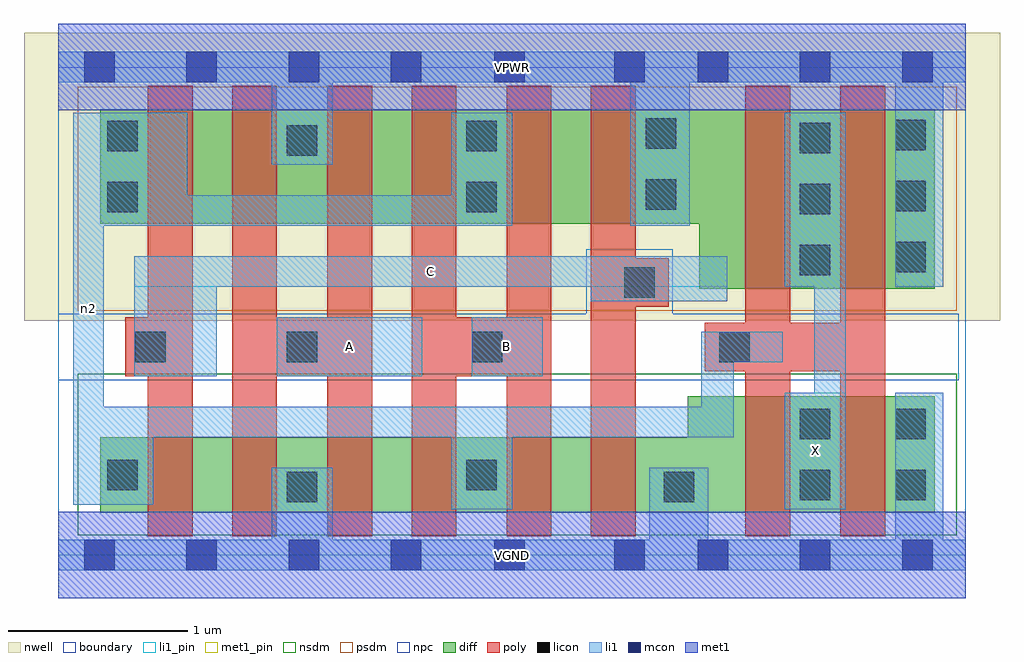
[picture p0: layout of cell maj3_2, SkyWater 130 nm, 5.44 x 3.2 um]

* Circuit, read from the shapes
.subckt maj3_2 A B C VGND VPWR X n2
XM1 n1 C n2 VSUBS sky130_fd_pr__nfet_01v8 w=0.42 l=0.25
XM2 VGND A n1 VSUBS sky130_fd_pr__nfet_01v8 w=0.42 l=0.25
XM3 n3 A VGND VSUBS sky130_fd_pr__nfet_01v8 w=0.42 l=0.25
XM4 n2 B n3 VSUBS sky130_fd_pr__nfet_01v8 w=0.42 l=0.25
XM5 n4 B n2 VSUBS sky130_fd_pr__nfet_01v8 w=0.42 l=0.25
XM6 VGND C n4 VSUBS sky130_fd_pr__nfet_01v8 w=0.42 l=0.25
XM7 X n2 VGND VSUBS sky130_fd_pr__nfet_01v8 w=0.65 l=0.25 m=2
XM8 n5 C n2 n6 sky130_fd_pr__pfet_01v8 w=0.64 l=0.25
XM9 VPWR A n5 n6 sky130_fd_pr__pfet_01v8 w=0.64 l=0.25
XM10 n7 A VPWR n6 sky130_fd_pr__pfet_01v8 w=0.64 l=0.25
XM11 n2 B n7 n6 sky130_fd_pr__pfet_01v8 w=0.64 l=0.25
XM12 n8 B n2 n6 sky130_fd_pr__pfet_01v8 w=0.64 l=0.25
XM13 VPWR C n8 n6 sky130_fd_pr__pfet_01v8 w=0.64 l=0.25
XM14 X n2 VPWR n6 sky130_fd_pr__pfet_01v8 w=1 l=0.25 m=2
.ends

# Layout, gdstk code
import gdstk
lib = gdstk.Library(unit=1e-6, precision=1e-09)
def R(c, l, rs):  # rectangles x0, y0, x1, y1
    for r in rs: c.add(gdstk.rectangle(r[:2], r[2:], *l))
def A(c, l, x, y, w, h, nx, ny, dx, dy):  # array of equal rectangles
    R(c, l, [(x+i*dx, y+j*dy, x+i*dx+w, y+j*dy+h) for i in range(nx) for j in range(ny)])
nwell = (64, 20)
diff = (65, 20)
poly = (66, 20)
licon = (66, 44)
li1_pin = (67, 16)
li1 = (67, 20)
mcon = (67, 44)
met1_pin = (68, 16)
met1 = (68, 20)
nsdm = (93, 44)
psdm = (94, 20)
npc = (95, 20)
boundary = (235, 4)

maj3_2 = lib.new_cell('maj3_2')
R(maj3_2, nwell, [(-0.19,1.305,5.25,2.91), (0,1.305,5.06,2.91)])
R(maj3_2, diff, [(0.235,0.235,4.885,0.655), (3.51,0.235,4.885,0.885), (3.575,1.485,4.885,2.485), (0.235,1.845,4.885,2.485)])
R(maj3_2, poly, [(0.5,0.105,0.75,2.615), (0.97,0.105,1.22,2.615), (1.5,0.105,1.75,2.615), (1.97,0.105,2.22,2.615), (2.5,0.105,2.75,2.615), (2.97,0.105,3.22,2.615), (3.83,0.105,4.08,2.615), (4.36,0.105,4.61,2.615), (0.375,0.995,0.75,1.325), (0.97,0.995,1.75,1.325), (1.97,0.995,2.75,1.325), (3.605,1.025,4.61,1.295), (2.97,1.385,3.405,1.655)])
A(maj3_2, licon, 4.135, 1.56, 0.17, 0.17, 1, 3, 0, 0.34)
A(maj3_2, licon, 4.665, 1.575, 0.17, 0.17, 1, 3, 0, 0.34)
R(maj3_2, licon, [(1.275,0.295,1.445,0.465), (3.375,0.295,3.545,0.465), (4.135,0.305,4.305,0.475), (4.665,0.305,4.835,0.475), (0.275,0.36,0.445,0.53), (2.275,0.36,2.445,0.53), (4.135,0.645,4.305,0.815), (4.665,0.645,4.835,0.815), (0.43,1.075,0.6,1.245), (1.275,1.075,1.445,1.245), (2.305,1.075,2.475,1.245), (3.685,1.075,3.855,1.245), (3.155,1.435,3.325,1.605), (0.275,1.91,0.445,2.08), (2.275,1.91,2.445,2.08), (3.275,1.925,3.445,2.095), (1.275,2.225,1.445,2.395), (0.275,2.25,0.445,2.42), (2.275,2.25,2.445,2.42), (3.275,2.265,3.445,2.435)])
R(maj3_2, li1_pin, [(4.05,0.255,4.39,0.905), (1.22,0.995,2.03,1.325), (2.305,0.995,2.7,1.325), (0.425,1.495,3.73,1.665)])
R(maj3_2, li1, [(0,-0.085,5.06,0.085), (1.19,-0.085,1.53,0.485), (3.295,-0.085,3.625,0.485), (4.665,-0.085,4.935,0.905), (2.19,0.255,2.53,0.825), (4.05,0.255,4.39,0.905), (4.215,0.255,4.39,2.465), (0.085,0.28,0.255,2.465), (0.085,0.28,0.53,0.825), (0.085,0.655,3.765,0.825), (3.585,0.655,3.765,1.245), (0.425,0.995,0.885,1.665), (1.22,0.995,2.03,1.325), (2.305,0.995,2.7,1.325), (3.585,1.075,4.04,1.245), (2.97,1.415,3.73,1.665), (0.425,1.495,3.73,1.665), (4.05,1.495,4.39,2.465), (4.665,1.495,4.935,2.805), (0.085,1.835,2.53,2.005), (0.085,1.835,0.72,2.465), (2.19,1.835,2.53,2.465), (3.19,1.835,3.52,2.805), (1.19,2.175,1.53,2.805), (0,2.635,5.06,2.805)])
A(maj3_2, mcon, 0.145, -0.085, 0.17, 0.17, 4, 2, 0.57, 2.72)
A(maj3_2, mcon, 3.565, -0.085, 0.17, 0.17, 3, 2, 0.57, 2.72)
R(maj3_2, mcon, [(2.43,-0.085,2.6,0.085), (3.1,-0.085,3.27,0.085), (2.43,2.635,2.6,2.805), (3.1,2.635,3.27,2.805)])
R(maj3_2, met1_pin, [(0,-0.24,5.06,0.24), (0,2.48,5.06,2.96)])
R(maj3_2, met1, [(0,-0.24,5.06,0.24), (0,2.48,5.06,2.96)])
R(maj3_2, nsdm, [(0.11,0.11,5.01,1.01)])
R(maj3_2, psdm, [(0.11,1.36,5.01,2.61)])
R(maj3_2, npc, [(0,0.975,5.02,1.345), (2.945,0.975,3.425,1.705)])
R(maj3_2, boundary, [(0,0,5.06,2.72)])
maj3_2.add(gdstk.Label('A', (1.625,1.16), layer=67, texttype=5))
maj3_2.add(gdstk.Label('B', (2.502,1.16), layer=67, texttype=5))
maj3_2.add(gdstk.Label('C', (2.077,1.58), layer=67, texttype=5))
maj3_2.add(gdstk.Label('X', (4.22,0.58), layer=67, texttype=5))
maj3_2.add(gdstk.Label('n2', (0.17,1.372), layer=67, texttype=5))
maj3_2.add(gdstk.Label('VPWR', (2.53,2.72), layer=68, texttype=5))
maj3_2.add(gdstk.Label('VGND', (2.53,0), layer=68, texttype=5))
maj3_2.add(gdstk.Label('A', (1.625,1.16), layer=67, texttype=16))
maj3_2.add(gdstk.Label('B', (2.502,1.16), layer=67, texttype=16))
maj3_2.add(gdstk.Label('C', (2.077,1.58), layer=67, texttype=16))
maj3_2.add(gdstk.Label('X', (4.22,0.58), layer=67, texttype=16))
maj3_2.add(gdstk.Label('VPWR', (2.53,2.72), layer=68, texttype=16))
maj3_2.add(gdstk.Label('VGND', (2.53,0), layer=68, texttype=16))

lib.write_gds('maj3_2.gds')
